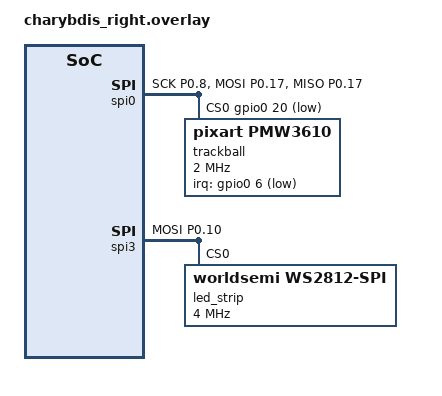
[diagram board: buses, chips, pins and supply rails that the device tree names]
/*
 * Copyright (c) 2020 ZMK Contributors
 *
 * SPDX-License-Identifier: MIT
 */
 
#include "charybdis.dtsi"
#include <zephyr/dt-bindings/input/input-event-codes.h>

&default_transform {
    col-offset = <6>;
}; 

&kscan0 {
	col-gpios
		= <&gpio0 2 GPIO_ACTIVE_HIGH>
		, <&gpio0 29 GPIO_ACTIVE_HIGH>
		, <&gpio0 9 GPIO_ACTIVE_HIGH>
		, <&gpio1 0  GPIO_ACTIVE_HIGH>
		, <&gpio0 11 GPIO_ACTIVE_HIGH>
		, <&gpio1 4  GPIO_ACTIVE_HIGH>
		;
};

// trackball
&pinctrl {
    spi0_default: spi0_default {
        group1 {
            psels = <NRF_PSEL(SPIM_SCK, 0, 8)>,
                <NRF_PSEL(SPIM_MOSI, 0, 17)>,
                <NRF_PSEL(SPIM_MISO, 0, 17)>;
        };
    };

    spi0_sleep: spi0_sleep {
        group1 {
            psels = <NRF_PSEL(SPIM_SCK, 0, 8)>,
                <NRF_PSEL(SPIM_MOSI, 0, 17)>,
                <NRF_PSEL(SPIM_MISO, 0, 17)>;
            low-power-enable;
        };
    };
};

&spi0 {
    status = "okay";
    compatible = "nordic,nrf-spim";
    pinctrl-0 = <&spi0_default>;
    pinctrl-1 = <&spi0_sleep>;
    pinctrl-names = "default", "sleep";
    cs-gpios = <&gpio0 20 GPIO_ACTIVE_LOW>;

    trackball: trackball@0 {
        status = "okay";
        compatible = "pixart,pmw3610";
        reg = <0>;
        spi-max-frequency = <2000000>;
        irq-gpios = <&gpio0 6 (GPIO_ACTIVE_LOW | GPIO_PULL_UP)>;
        scroll-layers = <3>;
        snipe-layers = <4>;
      // automouse-layer = <3>;
    };
};


//RGB bus
&pinctrl {
    spi3_default: spi3_default {
        group1 {
            psels = <NRF_PSEL(SPIM_MOSI, 0, 10)>;
        };
    };

    spi3_sleep: spi3_sleep {
        group1 {
            psels = <NRF_PSEL(SPIM_MOSI, 0, 10)>;
            low-power-enable;
        };
    };
};

&spi3 {
    compatible = "nordic,nrf-spim";
    status = "okay";

    pinctrl-0 = <&spi3_default>;
    pinctrl-1 = <&spi3_sleep>;
    pinctrl-names = "default", "sleep";

    led_strip: ws2812@0 {
        compatible = "worldsemi,ws2812-spi";

        /* SPI */
        reg = <0>; /* ignored, but necessary for SPI bindings */
        spi-max-frequency = <4000000>;

        /* WS2812 */
        chain-length = <27>; /* number of LEDs */
        spi-one-frame = <0x70>;
        spi-zero-frame = <0x40>;
        color-mapping = <LED_COLOR_ID_GREEN
                         LED_COLOR_ID_RED
                         LED_COLOR_ID_BLUE>;
    };
};



/ {
    // Custom XY scaler: param1=multiplier, param2=divisor
    // Usage: <&xy_scaler 2 1> = 2x speed, <&xy_scaler 1 2> = half speed
    xy_scaler: xy_scaler {
        compatible = "zmk,input-processor-scaler";
        #input-processor-cells = <2>;
        type = <INPUT_EV_REL>;
        codes = <INPUT_REL_X>, <INPUT_REL_Y>;
    };

    trackball_listener {
        compatible = "zmk,input-listener";
        device = <&trackball>;

        // Layer 5 = DPI 2x (300 → 600 CPI)
        dpi2x {
            layers = <5>;
            input-processors = <&xy_scaler 2 1>;
        };

        // Layer 6 = DPI 4x (300 → 1200 CPI)
        dpi4x {
            layers = <6>;
            input-processors = <&xy_scaler 4 1>;
        };

        // Layer 7 = DPI 3x (300 → 900 CPI)
        dpi3x {
            layers = <7>;
            input-processors = <&xy_scaler 3 1>;
        };

        // Layer 8 = DPI 5x (300 → 1500 CPI)
        dpi5x {
            layers = <8>;
            input-processors = <&xy_scaler 5 1>;
        };
    };
};


